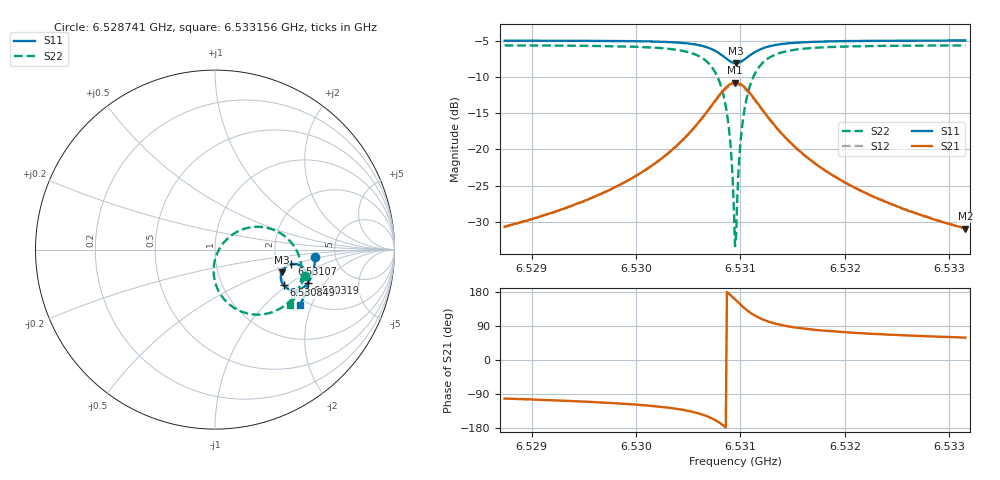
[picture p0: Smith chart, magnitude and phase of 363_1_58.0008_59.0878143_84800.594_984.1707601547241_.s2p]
#  HZ  S  RI  R  50.00
! Rohde & Schwarz Vector Network Analyzer
! Rohde-Schwarz,ZNB20-2Port,1311601062101988,3.16
! Created: UTC 3/21/2024, 1:06:35 AM
! freq[Hz]  re:S11  im:S11  re:S21  im:S21  re:S12  im:S12  re:S22  im:S22
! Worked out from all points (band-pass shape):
!   401 points, 6.528741 GHz to 6.533156 GHz, reference 50 ohm
!   highest |S21| = -10.80 dB at 6.530948 GHz (marker M1); lowest = -31.0 dB at 6.533156 GHz (marker M2)
!   |S21| within 3 dB of the highest: 6.530732 GHz to 6.531173 GHz (441.4 kHz wide, 0.00676 % of centre)
!   lowest |S11| = -8.1 dB at 6.530959 GHz (marker M3), VSWR 2.29, Z = 103 - j30.9 ohm
!   |S11| at or under -10 dB: nowhere
!   |S22| runs from -33.4 to -5.7 dB; largest |S21 - S12| = 0.011
!   S11 on the Smith chart (normalised r, x): 6.528741 GHz: 3.50, -0.44; 6.530319 GHz: 2.60, -1.39; 6.530849 GHz: 1.94, -0.95; 6.53107 GHz: 2.41, -0.48; 6.533156 GHz: 1.82, -1.65
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6.5287405e9  0.5596 -0.0434  -0.00597 -0.0286  -0.00642 -0.0285  0.4999 -0.1466
6.5294801e9  0.5506 -0.1041  -0.0145 -0.0407  -0.0153 -0.0405  0.4714 -0.2137
6.5302196e9  0.5242 -0.1752  -0.0457 -0.0701  -0.0476 -0.0691  0.3957 -0.3064
6.530319e9  0.5165 -0.1867  -0.0563 -0.077  -0.0584 -0.0755  0.373 -0.3226
6.5305287e9  0.4898 -0.2124  -0.0961 -0.093  -0.0987 -0.0898  0.2938 -0.3559
6.5306832e9  0.4508 -0.2269  -0.1567 -0.0948  -0.1589 -0.0887  0.1822 -0.3562
6.5307826e9  0.4112 -0.2208  -0.2182 -0.0685  -0.2174 -0.0599  0.0778 -0.3033
6.5308488e9  0.3827 -0.1989  -0.2603 -0.0209  -0.2557 -0.0117  0.0131 -0.2164
6.5308929e9  0.3696 -0.1736  -0.277 0.028  -0.2697 0.0356  -0.00736 -0.1325
6.530915e9  0.3669 -0.1586  -0.2787 0.056  -0.2702 0.0623  -0.00575 -0.0859
6.5309371e9  0.3674 -0.1428  -0.2749 0.085  -0.2655 0.0896  0.00522 -0.039
6.5309481e9  0.3689 -0.1349  -0.2707 0.0992  -0.2612 0.1028  0.0139 -0.0163
6.5309592e9  0.3714 -0.1273  -0.2653 0.1128  -0.2555 0.1157  0.0254 0.0055
6.5309702e9  0.3747 -0.12  -0.2586 0.1258  -0.2487 0.1279  0.0385 0.0258
6.5309923e9  0.3833 -0.1068  -0.2414 0.1493  -0.2323 0.1497  0.0702 0.0615
6.5310143e9  0.394 -0.096  -0.2208 0.1684  -0.2126 0.1675  0.1069 0.0899
6.5310695e9  0.4256 -0.0815  -0.1639 0.1952  -0.1581 0.1926  0.2058 0.1252
6.5311468e9  0.4645 -0.084  -0.095 0.1945  -0.092 0.192  0.3219 0.112
6.5312572e9  0.4977 -0.1065  -0.0366 0.165  -0.0351 0.1637  0.417 0.0481
6.5316877e9  0.5198 -0.1826  0.0139 0.0815  0.015 0.0813  0.4832 -0.1293
6.5324272e9  0.4995 -0.2554  0.0166 0.039  0.0172 0.0386  0.4556 -0.2452
6.5331557e9  0.4715 -0.3086  0.0146 0.0243  0.0151 0.0242  0.4202 -0.3076
